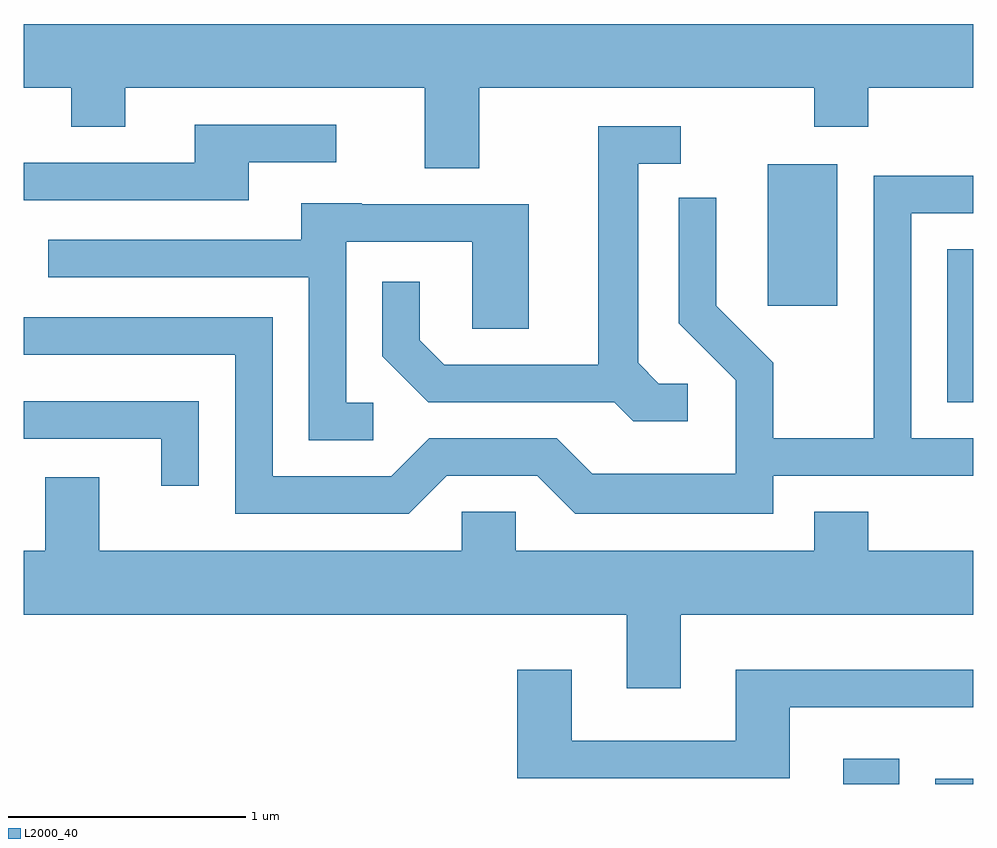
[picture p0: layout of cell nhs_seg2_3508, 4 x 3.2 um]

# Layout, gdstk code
import gdstk
lib = gdstk.Library(unit=1e-6, precision=1e-09)
def R(c, l, rs):  # rectangles x0, y0, x1, y1
    for r in rs: c.add(gdstk.rectangle(r[:2], r[2:], *l))
def P(c, l, *ps):  # polygons
    for p in ps: c.add(gdstk.Polygon(p, *l))
L2000_40 = (2000, 40)

nhs_seg2_3508 = lib.new_cell('nhs_seg2_3508')
R(nhs_seg2_3508, L2000_40, [(291.063,1069.802,291.299,1069.909), (291.451,1069.802,291.611,1069.824), (291.501,1071.411,291.611,1072.054), (290.746,1071.816,291.039,1072.414)])
P(nhs_seg2_3508, L2000_40, [(287.611,1072.736),(287.811,1072.736),(287.811,1072.571),(288.039,1072.571),(288.039,1072.736),(289.301,1072.736),(289.301,1072.396),(289.529,1072.396),(289.529,1072.736),(290.941,1072.736),(290.941,1072.571),(291.169,1072.571),(291.169,1072.736),(291.611,1072.736),(291.611,1073.004),(287.611,1073.004)],
  [(288.559,1072.421),(288.928,1072.421),(288.928,1072.579),(288.331,1072.579),(288.331,1072.419),(287.611,1072.419),(287.611,1072.261),(288.559,1072.261)],
  [(290.408,1071.489),(290.287,1071.489),(290.199,1071.577),(290.199,1072.416),(290.378,1072.416),(290.378,1072.574),(290.031,1072.574),(290.031,1071.569),(289.382,1071.569),(289.279,1071.672),(289.279,1071.918),(289.121,1071.918),(289.121,1071.604),(289.314,1071.411),(290.099,1071.411),(290.179,1071.331),(290.408,1071.331)],
  [(289.392,1071.101),(289.774,1071.101),(289.934,1070.941),(290.769,1070.941),(290.769,1071.101),(291.611,1071.101),(291.611,1071.259),(291.349,1071.259),(291.349,1072.206),(291.611,1072.206),(291.611,1072.364),(291.191,1072.364),(291.191,1071.259),(290.769,1071.259),(290.769,1071.577),(290.529,1071.817),(290.529,1072.273),(290.371,1072.273),(290.371,1071.744),(290.611,1071.504),(290.611,1071.109),(290.007,1071.109),(289.857,1071.259),(289.319,1071.259),(289.159,1071.099),(288.659,1071.099),(288.659,1071.769),(287.611,1071.769),(287.611,1071.611),(288.501,1071.611),(288.501,1070.941),(289.232,1070.941)],
  [(289.083,1071.409),(288.969,1071.409),(288.969,1072.086),(289.501,1072.086),(289.501,1071.721),(289.739,1071.721),(289.739,1072.244),(289.035,1072.244),(289.035,1072.249),(288.781,1072.249),(288.781,1072.094),(287.713,1072.094),(287.713,1071.936),(288.811,1071.936),(288.811,1071.251),(289.083,1071.251)],
  [(288.349,1071.414),(287.611,1071.414),(287.611,1071.256),(288.191,1071.256),(288.191,1071.058),(288.349,1071.058)],
  [(290.379,1070.516),(291.611,1070.516),(291.611,1070.784),(291.169,1070.784),(291.169,1070.949),(290.941,1070.949),(290.941,1070.784),(289.684,1070.784),(289.684,1070.949),(289.456,1070.949),(289.456,1070.784),(287.929,1070.784),(287.929,1071.094),(287.701,1071.094),(287.701,1070.784),(287.611,1070.784),(287.611,1070.516),(290.151,1070.516),(290.151,1070.206),(290.379,1070.206)],
  [(290.839,1070.126),(291.611,1070.126),(291.611,1070.284),(290.611,1070.284),(290.611,1069.984),(289.919,1069.984),(289.919,1070.284),(289.691,1070.284),(289.691,1069.826),(290.839,1069.826)])

lib.write_gds('nhs_seg2_3508.gds')
